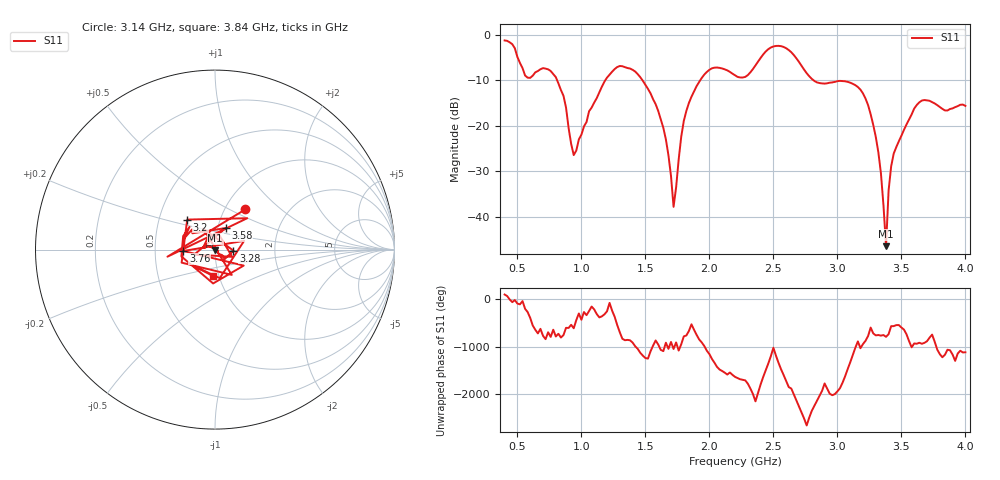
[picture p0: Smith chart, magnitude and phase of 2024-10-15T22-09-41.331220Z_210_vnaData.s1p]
! Created with skrf (http://scikit-rf.org).
# Hz S RI R 50.0
!freq ReS11 ImS11
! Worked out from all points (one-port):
!   181 points, 400 MHz to 4 GHz, reference 50 ohm
!   lowest |S11| = -46.5 dB at 3.38 GHz (marker M1), VSWR 1.01, Z = 50.1 - j0.462 ohm
!   |S11| at or under -10 dB: 810.9 MHz to 1.186 GHz (374.8 MHz wide, 37.5 % of centre); 1.478 GHz to 1.927 GHz (449.3 MHz wide, 26.4 % of centre); 2.815 GHz to end of sweep
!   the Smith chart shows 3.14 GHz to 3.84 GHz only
!   S11 on the Smith chart (normalised r, x): 3.14 GHz: 1.24, +0.61; 3.2 GHz: 0.70, +0.25; 3.28 GHz: 1.23, -0.01; 3.58 GHz: 1.09, +0.27; 3.76 GHz: 0.70, -0.01; 3.84 GHz: 0.94, -0.28
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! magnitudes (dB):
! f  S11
! 400 MHz  -1.2
! 560 MHz  -8.9
! 740 MHz  -7.5
! 860 MHz  -13.4
! 940 MHz  -26.4
! 1.3 GHz  -6.8
! 1.58 GHz  -15.2
! 1.66 GHz  -23.0
! 1.72 GHz  -37.8
! 1.76 GHz  -27.4
! 1.82 GHz  -16.7
! 1.94 GHz  -9.5
! 2.2 GHz  -8.9
! 2.66 GHz  -4.4
! 2.84 GHz  -10.4
! 3.1 GHz  -10.5
! 3.14 GHz  -11.0
! 3.2 GHz  -12.8
! 3.28 GHz  -19.8
! 3.34 GHz  -30.4
! 3.38 GHz  -46.5
! 3.4 GHz  -34.2
! 3.42 GHz  -28.9
! 3.56 GHz  -18.6
! 3.58 GHz  -17.5
! 3.76 GHz  -15.1
! 3.84 GHz  -16.6
! 4 GHz  -15.6
